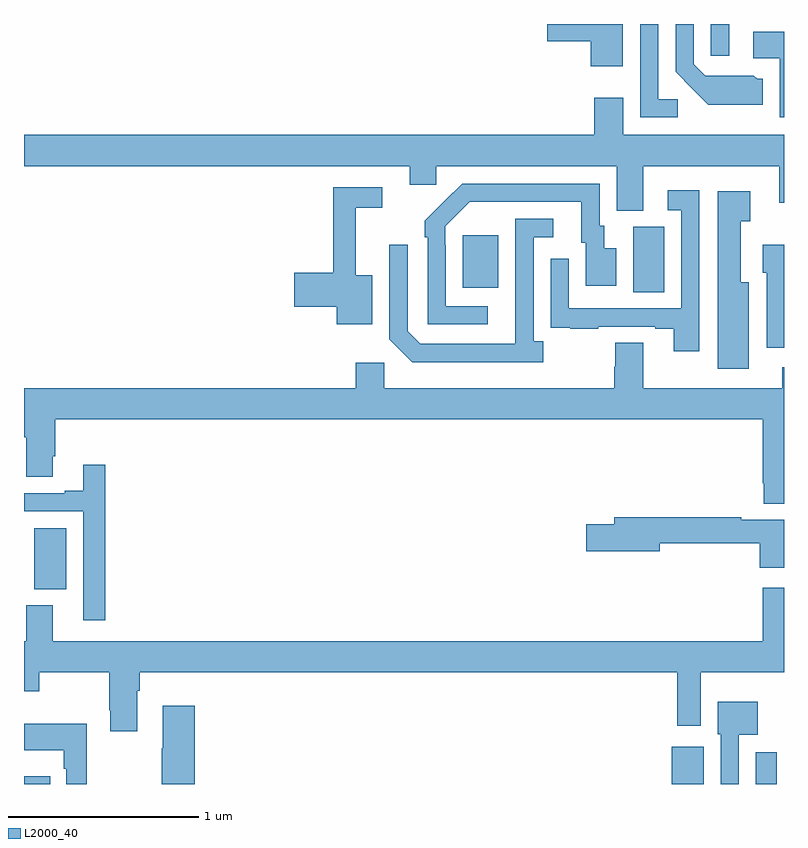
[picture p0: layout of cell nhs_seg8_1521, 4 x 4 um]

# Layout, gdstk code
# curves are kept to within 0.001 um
import gdstk
lib = gdstk.Library(unit=1e-6, precision=1e-09)
def R(c, l, rs):  # rectangles x0, y0, x1, y1
    for r in rs: c.add(gdstk.rectangle(r[:2], r[2:], *l))
def P(c, l, *ps):  # polygons
    for p in ps: c.add(gdstk.Polygon(p, *l))
L2000_40 = (2000, 40)

nhs_seg8_1521 = lib.new_cell('nhs_seg8_1521')
R(nhs_seg8_1521, L2000_40, [(207,1127.9,207.137,1127.941), (210.41,1127.9,210.577,1128.097), (210.851,1127.9,210.961,1128.067), (207.053,1128.926,207.223,1129.246), (210.206,1130.488,210.37,1130.832), (209.309,1130.513,209.497,1130.788), (210.615,1131.732,210.711,1131.9)])
P(nhs_seg8_1521, L2000_40, [(210.151,1131.9),(209.754,1131.9),(209.754,1131.809),(209.984,1131.809),(209.984,1131.678),(210.151,1131.678)],
  [(210.442,1131.504),(210.339,1131.504),(210.339,1131.9),(210.243,1131.9),(210.243,1131.408),(210.442,1131.408)],
  [(210.889,1131.612),(210.858,1131.612),(210.842,1131.628),(210.585,1131.627),(210.525,1131.687),(210.525,1131.9),(210.429,1131.9),(210.429,1131.65),(210.601,1131.476),(210.889,1131.476)],
  [(211,1131.86),(210.837,1131.86),(210.837,1131.72),(210.978,1131.72),(210.978,1131.408),(211,1131.408)],
  [(210.259,1131.152),(210.974,1131.152),(210.974,1130.958),(211,1130.958),(211,1131.316),(210.154,1131.316),(210.154,1131.511),(210.002,1131.511),(210.002,1131.316),(207,1131.316),(207,1131.152),(209.03,1131.152),(209.03,1131.054),(209.169,1131.054),(209.169,1131.152),(210.119,1131.152),(210.119,1130.917),(210.259,1130.917)],
  [(209.44,1130.415),(209.22,1130.415),(209.22,1130.735),(209.217,1130.735),(209.217,1130.835),(209.346,1130.964),(209.933,1130.964),(209.933,1130.748),(209.957,1130.748),(209.957,1130.523),(210.118,1130.523),(210.118,1130.719),(210.055,1130.719),(210.055,1130.838),(210.03,1130.838),(210.03,1131.06),(209.306,1131.06),(209.109,1130.865),(209.109,1130.777),(209.124,1130.777),(209.124,1130.319),(209.44,1130.319)],
  [(208.834,1130.578),(208.745,1130.578),(208.745,1130.934),(208.885,1130.934),(208.885,1131.042),(208.627,1131.042),(208.627,1130.591),(208.422,1130.591),(208.422,1130.413),(208.646,1130.413),(208.646,1130.321),(208.834,1130.321)],
  [(210.555,1131.025),(210.387,1131.025),(210.387,1130.919),(210.459,1130.919),(210.459,1130.403),(209.868,1130.403),(209.868,1130.665),(209.772,1130.665),(209.772,1130.41),(209.773,1130.41),(209.773,1130.301),(209.875,1130.301),(209.875,1130.295),(210.023,1130.295),(210.023,1130.307),(210.323,1130.307),(210.323,1130.295),(210.419,1130.295),(210.419,1130.178),(210.555,1130.178)],
  [(210.814,1130.542),(210.772,1130.542),(210.772,1130.863),(210.823,1130.863),(210.823,1131.019),(210.65,1131.019),(210.65,1130.085),(210.814,1130.085)],
  [(209.734,1130.23),(209.682,1130.23),(209.682,1130.778),(209.785,1130.778),(209.785,1130.874),(209.586,1130.874),(209.585,1130.217),(209.085,1130.217),(209.019,1130.283),(209.019,1130.737),(208.923,1130.737),(208.923,1130.241),(209.044,1130.12),(209.734,1130.12)],
  [(211,1130.737),(210.888,1130.737),(210.888,1130.592),(210.909,1130.592),(210.909,1130.196),(211,1130.196)],
  [(211,1130.094),(210.992,1130.094),(210.992,1129.984),(210.259,1129.984),(210.259,1130.222),(210.112,1130.222),(210.112,1130.097),(210.107,1130.097),(210.107,1129.984),(208.896,1129.984),(208.896,1130.116),(208.745,1130.116),(208.745,1129.984),(207,1129.984),(207,1129.724),(207.011,1129.724),(207.011,1129.516),(207.151,1129.516),(207.151,1129.624),(207.164,1129.624),(207.164,1129.82),(210.888,1129.82),(210.888,1129.483),(210.894,1129.483),(210.894,1129.376),(211,1129.376)],
  [(207.428,1129.579),(207.311,1129.579),(207.311,1129.444),(207.215,1129.444),(207.215,1129.431),(207,1129.431),(207,1129.335),(207.312,1129.335),(207.312,1128.762),(207.428,1128.762)],
  [(211,1129.291),(210.776,1129.291),(210.776,1129.304),(210.107,1129.304),(210.107,1129.268),(209.958,1129.268),(209.958,1129.126),(210.346,1129.126),(210.346,1129.168),(210.872,1129.168),(210.872,1129.037),(211,1129.037)],
  [(207.595,1128.392),(207.608,1128.392),(207.608,1128.488),(210.437,1128.488),(210.437,1128.207),(210.562,1128.207),(210.562,1128.488),(211,1128.488),(211,1128.934),(210.888,1128.934),(210.888,1128.652),(207.151,1128.652),(207.151,1128.841),(207.011,1128.841),(207.011,1128.652),(207,1128.652),(207,1128.389),(207.081,1128.389),(207.081,1128.488),(207.448,1128.488),(207.448,1128.289),(207.455,1128.289),(207.455,1128.177),(207.595,1128.177)],
  [(210.762,1128.158),(210.862,1128.158),(210.862,1128.334),(210.65,1128.334),(210.65,1128.162),(210.666,1128.162),(210.666,1127.9),(210.762,1127.9)],
  [(207.899,1128.313),(207.731,1128.313),(207.731,1128.089),(207.724,1128.089),(207.724,1127.9),(207.899,1127.9)],
  [(207.331,1128.217),(207,1128.217),(207,1128.077),(207.21,1128.077),(207.21,1127.981),(207.222,1127.981),(207.222,1127.9),(207.331,1127.9)])

lib.write_gds('nhs_seg8_1521.gds')
